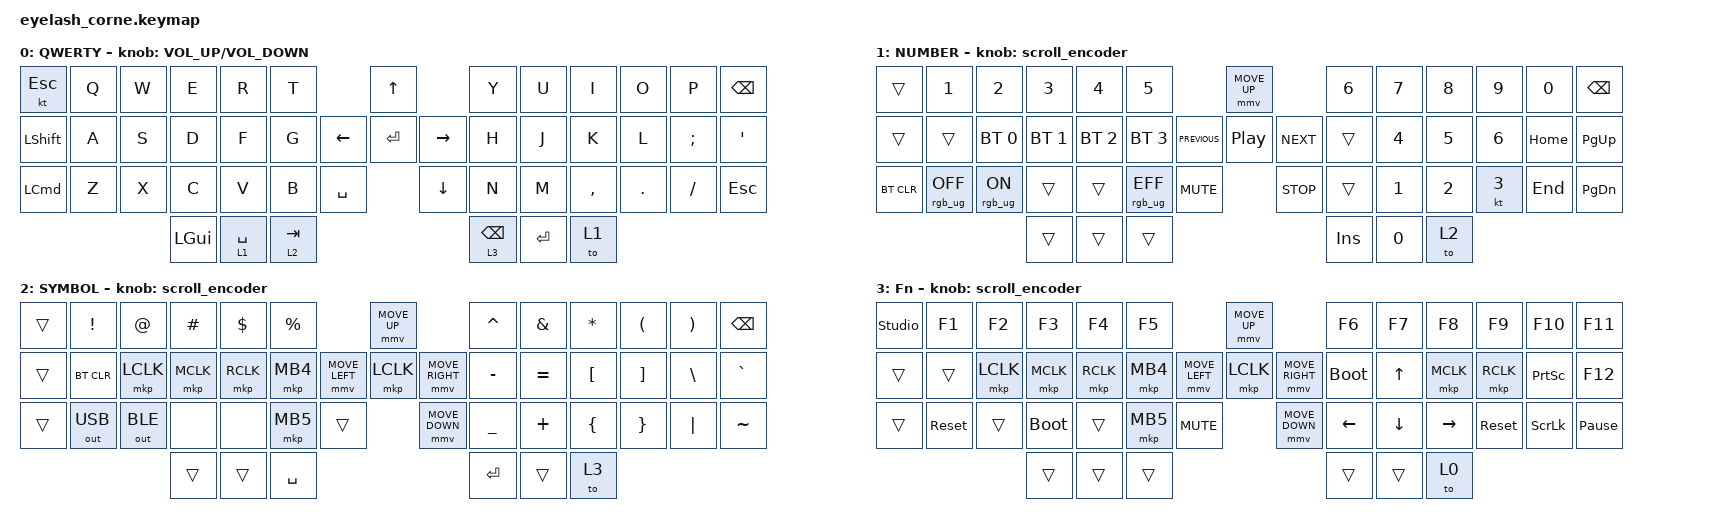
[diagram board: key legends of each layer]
#include <input/processors.dtsi>
#include <dt-bindings/zmk/mouse.h>
#include <behaviors.dtsi>
#include <dt-bindings/zmk/bt.h>
#include <dt-bindings/zmk/keys.h>
#include <dt-bindings/zmk/outputs.h>
#include <dt-bindings/zmk/pointing.h>
#include <dt-bindings/zmk/rgb.h>

/*

   &mmv_input_listener {
       input-processors = <&zip_xy_scaler 2 1>;
   };

   &msc_input_listener {
       input-processors = <&zip_xy_scaler 2 1>;
   };

 */

#define ZMK_MOUSE_DEFAULT_MOVE_VAL 1200  // 600
#define ZMK_MOUSE_DEFAULT_SCRL_VAL 20    // 10

/ {
    behaviors {
        td0: td0 {
            compatible = "zmk,behavior-tap-dance";
            display-name = "Shift/Caps Lock Tap Dance";
            #binding-cells = <0>;
            bindings = <&kp LEFT_SHIFT>, <&kp CAPS>;
        };
    };

    rgb_encoder: rgb_encoder {
        compatible = "zmk,behavior-sensor-rotate";
        #sensor-binding-cells = <0>;
        bindings = <&rgb_ug RGB_BRI>, <&rgb_ug RGB_BRD>;
    };

    scroll_encoder: scroll_encoder {
        compatible = "zmk,behavior-sensor-rotate";
        #sensor-binding-cells = <0>;
        bindings = <&msc SCRL_DOWN>, <&msc SCRL_UP>;

        tap-ms = <30>;
    };

    keymap {
        compatible = "zmk,keymap";

        default_layer {
            display-name = "QWERTY";
            bindings = <
&kt ESCAPE        &kp Q  &kp W  &kp E     &kp R        &kp T                             &kp UP                &kp Y            &kp U      &kp I      &kp O    &kp P     &kp BSPC
&kp LEFT_SHIFT    &kp A  &kp S  &kp D     &kp F        &kp G                   &kp LEFT  &kp ENTER  &kp RIGHT  &kp H            &kp J      &kp K      &kp L    &kp SEMI  &kp SQT
&kp LEFT_COMMAND  &kp Z  &kp X  &kp C     &kp V        &kp B      &kp SPACE              &kp DOWN              &kp N            &kp M      &kp COMMA  &kp DOT  &kp FSLH  &kp ESC
                                &kp LGUI  &lt 1 SPACE  &lt 2 TAB                                               &lt 3 BACKSPACE  &kp ENTER  &to 1
            >;

            sensor-bindings = <&inc_dec_kp C_VOLUME_UP C_VOLUME_DOWN>;
        };

        lower_layer {
            display-name = "NUMBER";
            bindings = <
&trans      &kp N1           &kp N2          &kp N3        &kp N4        &kp N5                                         &mmv MOVE_UP                  &kp NUMBER_6  &kp N7        &kp N8        &kp N9        &kp N0    &kp BSPC
&trans      &trans           &bt BT_SEL 0    &bt BT_SEL 1  &bt BT_SEL 2  &bt BT_SEL 3                   &kp C_PREVIOUS  &kp C_PLAY_PAUSE  &kp C_NEXT  &trans        &kp NUMBER_4  &kp N5        &kp NUMBER_6  &kp HOME  &kp PG_UP
&bt BT_CLR  &rgb_ug RGB_OFF  &rgb_ug RGB_ON  &trans        &trans        &rgb_ug RGB_EFF  &kp C_MUTE                    &kp C_STOP                    &trans        &kp NUMBER_1  &kp NUMBER_2  &kt NUMBER_3  &kp END   &kp PG_DN
                                             &trans        &trans        &trans                                                                       &kp INS       &kp N0        &to 2
            >;

            sensor-bindings = <&scroll_encoder>;
        };

        raise_layer {
            display-name = "SYMBOL";
            bindings = <
&trans  &kp EXCL      &kp AT        &kp HASH   &kp DLLR   &kp PRCNT                            &mmv MOVE_UP                     &kp CARET  &kp AMPS   &kp ASTRK  &kp LPAR  &kp RPAR  &kp BSPC
&trans  &bt BT_CLR    &mkp LCLK     &mkp MCLK  &mkp RCLK  &mkp MB4             &mmv MOVE_LEFT  &mkp LCLK       &mmv MOVE_RIGHT  &kp MINUS  &kp EQUAL  &kp LBKT   &kp RBKT  &kp BSLH  &kp GRAVE
&trans  &out OUT_USB  &out OUT_BLE  &none      &none      &mkp MB5   &trans                    &mmv MOVE_DOWN                   &kp UNDER  &kp PLUS   &kp LBRC   &kp RBRC  &kp PIPE  &kp TILDE
                                    &trans     &trans     &kp SPACE                                                             &kp RET    &trans     &to 3
            >;

            sensor-bindings = <&scroll_encoder>;
        };

        layer_3 {
            display-name = "Fn";
            bindings = <
&studio_unlock  &kp F1      &kp F2     &kp F3       &kp F4     &kp F5                                  &mmv MOVE_UP                     &kp F6       &kp F7          &kp F8     &kp F9      &kp F10          &kp F11
&trans          &trans      &mkp LCLK  &mkp MCLK    &mkp RCLK  &mkp MB4                &mmv MOVE_LEFT  &mkp LCLK       &mmv MOVE_RIGHT  &bootloader  &kp UP_ARROW    &mkp MCLK  &mkp RCLK   &kp PRINTSCREEN  &kp F12
&trans          &sys_reset  &trans     &bootloader  &trans     &mkp MB5  &kp C_MUTE                    &mmv MOVE_DOWN                   &kp LEFT     &kp DOWN_ARROW  &kp RIGHT  &sys_reset  &kp SCROLLLOCK   &kp PAUSE_BREAK
                                       &trans       &trans     &trans                                                                   &trans       &trans          &to 0
            >;

            sensor-bindings = <&scroll_encoder>;
        };
    };
};
